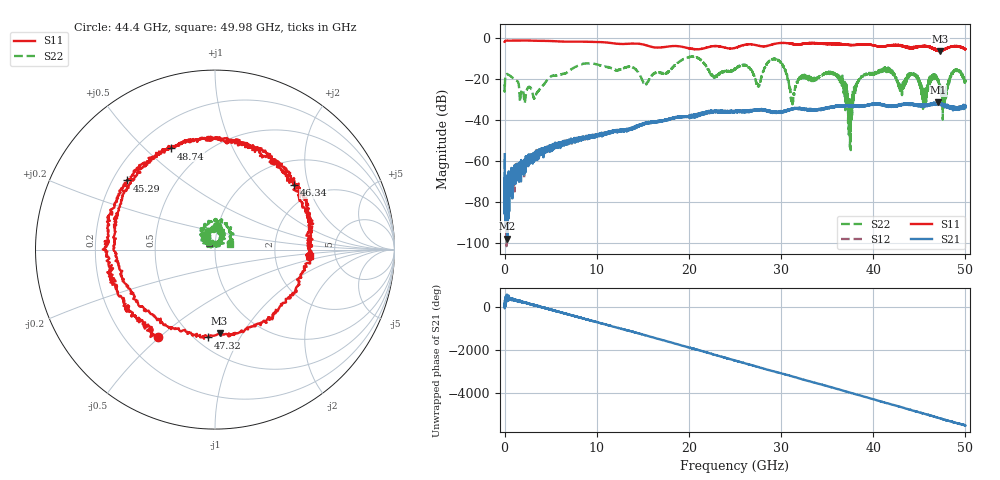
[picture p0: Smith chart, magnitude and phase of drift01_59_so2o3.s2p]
!Created with skrf (http://scikit-rf.org).
# Hz S RI R 50.0
!freq ReS11 ImS11 ReS21 ImS21 ReS12 ImS12 ReS22 ImS22
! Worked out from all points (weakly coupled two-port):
!   10001 points, 300 kHz to 50 GHz, reference 50 ohm
!   highest |S21| = -31.49 dB at 47.03 GHz (marker M1); lowest = -97.6 dB at 290.3 MHz (marker M2)
!   lowest |S11| = -6.6 dB at 47.28 GHz (marker M3), VSWR 2.76, Z = 33.4 - j40 ohm
!   |S11| at or under -10 dB: nowhere
!   |S22| runs from -54.7 to -9.2 dB; largest |S21 - S12| = 0.004
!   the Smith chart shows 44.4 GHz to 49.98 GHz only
!   S11 on the Smith chart (normalised r, x): 44.4 GHz: 0.34, -0.49; 45.29 GHz: 0.26, +0.32; 46.34 GHz: 1.53, +1.62; 47.32 GHz: 0.58, -0.74; 48.74 GHz: 0.33, +0.60; 49.98 GHz: 3.20, -0.31
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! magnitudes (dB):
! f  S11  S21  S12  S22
! 300 kHz  -2.1  -56.6  -59.4  -22.7
! 290.3 MHz  -1.4  -97.6  -78.6  -17.7
! 3.285 GHz  -1.5  -57.4  -56.8  -28.8
! 8.335 GHz  -1.9  -48.7  -48.7  -12.9
! 16.67 GHz  -4.8  -40.7  -40.6  -16.7
! 25 GHz  -5.0  -35.9  -35.9  -15.4
! 29.58 GHz  -2.8  -36.5  -36.4  -10.7
! 31.23 GHz  -3.0  -34.6  -34.6  -32.2
! 33.34 GHz  -2.6  -35.1  -34.9  -20.6
! 36.15 GHz  -3.1  -33.5  -33.3  -18.7
! 37.47 GHz  -3.6  -33.3  -33.0  -32.3
! 38.65 GHz  -3.4  -33.2  -33.3  -19.4
! 41.67 GHz  -3.9  -33.7  -33.2  -15.9
! 44.4 GHz  -4.7  -32.9  -32.5  -17.7
! 45.29 GHz  -4.1  -33.2  -33.0  -24.5
! 46.34 GHz  -4.9  -32.1  -32.0  -19.7
! 47.03 GHz  -6.4  -31.5  -31.7  -20.2
! 47.28 GHz  -6.6  -32.0  -32.5  -23.9
! 47.32 GHz  -6.2  -32.3  -31.8  -24.2
! 48.74 GHz  -4.2  -34.1  -34.4  -16.3
! 49.98 GHz  -5.6  -33.2  -33.4  -21.2
! 50 GHz  -5.6  -33.2  -33.6  -21.3
